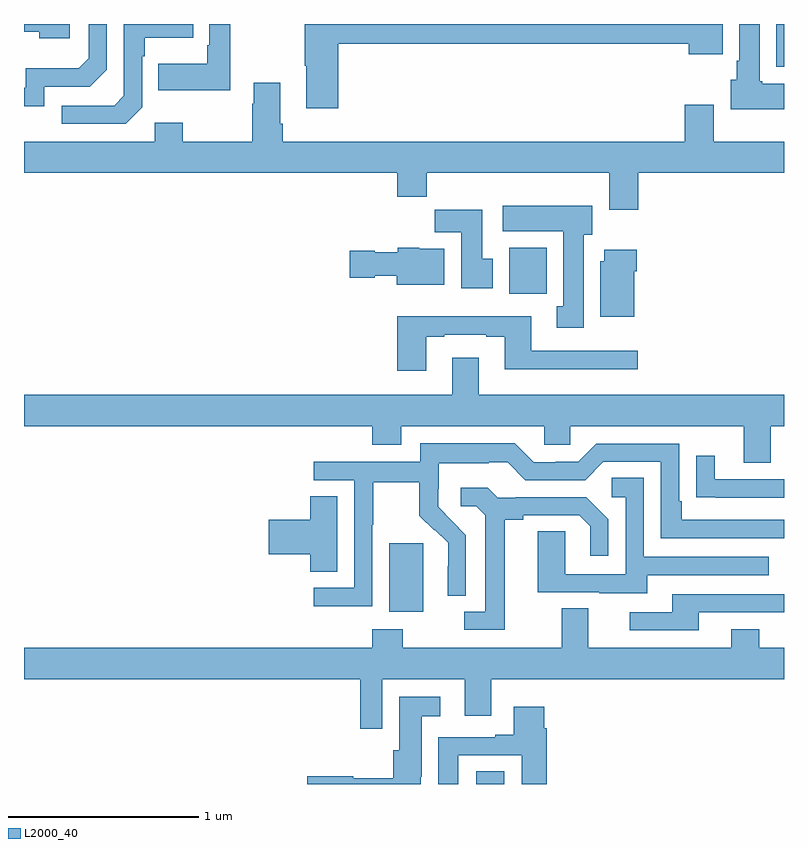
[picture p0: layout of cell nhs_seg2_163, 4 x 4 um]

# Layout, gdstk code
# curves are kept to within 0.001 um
import gdstk
lib = gdstk.Library(unit=1e-6, precision=1e-09)
def R(c, l, rs):  # rectangles x0, y0, x1, y1
    for r in rs: c.add(gdstk.rectangle(r[:2], r[2:], *l))
def P(c, l, *ps):  # polygons
    for p in ps: c.add(gdstk.Polygon(p, *l))
L2000_40 = (2000, 40)

nhs_seg2_163 = lib.new_cell('nhs_seg2_163')
R(nhs_seg2_163, L2000_40, [(121.379,597.8,121.528,597.866), (120.923,598.706,121.102,599.067), (121.553,600.38,121.75,600.622), (122.96,601.574,123,601.8)])
P(nhs_seg2_163, L2000_40, [(119.622,601.362),(119.622,601.631),(119.635,601.631),(119.635,601.727),(119.891,601.727),(119.891,601.8),(119.526,601.8),(119.526,601.422),(119.475,601.371),(119.199,601.371),(119.199,601.275),(119.535,601.275)],
  [(123,601.486),(122.886,601.486),(122.886,601.5),(122.872,601.5),(122.872,601.8),(122.765,601.8),(122.765,601.606),(122.75,601.606),(122.75,601.506),(122.72,601.506),(122.72,601.352),(123,601.352)],
  [(119.106,601.47),(119.346,601.47),(119.436,601.56),(119.436,601.8),(119.34,601.8),(119.34,601.62),(119.287,601.567),(119.01,601.567),(119.01,601.464),(119,601.464),(119,601.368),(119.106,601.368)],
  [(120.085,601.8),(119.976,601.8),(119.976,601.687),(119.964,601.687),(119.964,601.591),(119.707,601.591),(119.707,601.451),(120.085,601.451)],
  [(120.653,601.696),(122.498,601.696),(122.498,601.64),(122.677,601.64),(122.677,601.8),(120.478,601.8),(120.478,601.579),(120.485,601.579),(120.485,601.356),(120.653,601.356)],
  [(119.242,601.8),(119,601.8),(119,601.758),(119.081,601.758),(119.081,601.724),(119.242,601.724)],
  [(122.234,601.016),(123,601.016),(123,601.18),(122.629,601.18),(122.629,601.375),(122.477,601.375),(122.477,601.18),(120.362,601.18),(120.362,601.276),(120.349,601.276),(120.349,601.492),(120.209,601.492),(120.209,601.379),(120.202,601.379),(120.202,601.18),(119.835,601.18),(119.835,601.279),(119.688,601.279),(119.688,601.18),(119,601.18),(119,601.016),(120.965,601.016),(120.965,600.892),(121.121,600.892),(121.121,601.016),(122.081,601.016),(122.081,600.822),(122.234,600.822)],
  [(121.945,600.69),(121.99,600.69),(121.99,600.844),(121.521,600.844),(121.521,600.71),(121.838,600.71),(121.838,600.314),(121.805,600.314),(121.805,600.201),(121.945,600.201)],
  [(121.468,600.564),(121.411,600.564),(121.411,600.823),(121.162,600.823),(121.162,600.704),(121.301,600.704),(121.301,600.408),(121.468,600.408)],
  [(121.213,600.616),(121.08,600.616),(121.08,600.622),(120.966,600.622),(120.966,600.598),(120.846,600.598),(120.846,600.606),(120.714,600.606),(120.714,600.464),(120.846,600.464),(120.846,600.476),(120.962,600.476),(120.962,600.428),(121.213,600.428)],
  [(122.212,600.5),(122.225,600.5),(122.225,600.613),(122.054,600.613),(122.054,600.552),(122.033,600.552),(122.033,600.26),(122.212,600.26)],
  [(121.117,600.153),(121.213,600.153),(121.213,600.165),(121.433,600.165),(121.433,600.153),(121.529,600.153),(121.529,599.984),(122.23,599.984),(122.23,600.081),(121.669,600.081),(121.669,600.262),(120.965,600.262),(120.965,599.976),(121.117,599.976)],
  [(122.929,599.684),(123,599.684),(123,599.848),(121.393,599.848),(121.393,600.043),(121.253,600.043),(121.253,599.848),(119,599.848),(119,599.684),(120.833,599.684),(120.833,599.585),(120.985,599.585),(120.985,599.684),(121.737,599.684),(121.737,599.586),(121.875,599.586),(121.875,599.684),(122.789,599.684),(122.789,599.49),(122.929,599.49)],
  [(120.834,599.164),(120.837,599.164),(120.837,599.388),(121.081,599.388),(121.081,599.213),(121.158,599.136),(121.161,599.139),(121.232,599.069),(121.232,598.946),(121.23,598.946),(121.23,598.792),(121.326,598.792),(121.326,599.11),(121.18,599.258),(121.18,599.355),(121.182,599.355),(121.182,599.489),(121.445,599.489),(121.445,599.493),(121.545,599.493),(121.638,599.4),(121.953,599.4),(122.049,599.496),(122.352,599.496),(122.352,599.094),(123,599.094),(123,599.19),(122.461,599.19),(122.461,599.287),(122.448,599.287),(122.448,599.592),(122.013,599.592),(121.917,599.496),(121.799,599.496),(121.799,599.493),(121.683,599.493),(121.583,599.593),(121.086,599.593),(121.086,599.496),(120.525,599.496),(120.525,599.4),(120.738,599.4),(120.738,598.833),(120.525,598.833),(120.525,598.735),(120.834,598.735)],
  [(123,599.403),(122.635,599.403),(122.635,599.527),(122.539,599.527),(122.539,599.308),(122.641,599.308),(122.641,599.307),(123,599.307)],
  [(122.281,598.899),(122.921,598.899),(122.921,598.995),(122.262,598.995),(122.262,599.411),(122.094,599.411),(122.094,599.31),(122.166,599.31),(122.166,598.905),(121.848,598.905),(121.848,599.129),(121.703,599.129),(121.703,598.809),(122.027,598.809),(122.027,598.805),(122.281,598.805)],
  [(121.531,599.192),(121.627,599.192),(121.627,599.214),(121.922,599.214),(121.979,599.157),(121.979,599.001),(122.076,599.001),(122.076,599.194),(121.96,599.31),(121.588,599.31),(121.588,599.307),(121.494,599.307),(121.442,599.359),(121.299,599.359),(121.299,599.262),(121.38,599.262),(121.427,599.215),(121.427,598.707),(121.317,598.707),(121.317,598.611),(121.531,598.611)],
  [(120.649,599.315),(120.506,599.315),(120.506,599.192),(120.288,599.192),(120.288,599.009),(120.506,599.009),(120.506,598.918),(120.649,598.918)],
  [(122.551,598.704),(123,598.704),(123,598.8),(122.411,598.8),(122.411,598.704),(122.187,598.704),(122.187,598.608),(122.551,598.608)],
  [(120.885,598.352),(121.319,598.352),(121.319,598.158),(121.459,598.158),(121.459,598.352),(123,598.352),(123,598.516),(122.871,598.516),(122.871,598.615),(122.723,598.615),(122.723,598.516),(121.969,598.516),(121.969,598.724),(121.829,598.724),(121.829,598.516),(120.993,598.516),(120.993,598.615),(120.833,598.615),(120.833,598.516),(119,598.516),(119,598.352),(120.769,598.352),(120.769,598.092),(120.885,598.092)],
  [(121.089,597.838),(121.093,597.838),(121.093,598.157),(121.192,598.157),(121.192,598.258),(120.974,598.258),(120.974,597.978),(120.944,597.978),(120.944,597.829),(120.732,597.829),(120.732,597.842),(120.492,597.842),(120.492,597.8),(121.089,597.8)],
  [(121.285,597.951),(121.619,597.951),(121.619,597.8),(121.751,597.8),(121.751,598.094),(121.738,598.094),(121.738,598.207),(121.577,598.207),(121.577,598.06),(121.481,598.06),(121.481,598.047),(121.181,598.047),(121.181,597.8),(121.285,597.8)])

lib.write_gds('nhs_seg2_163.gds')
